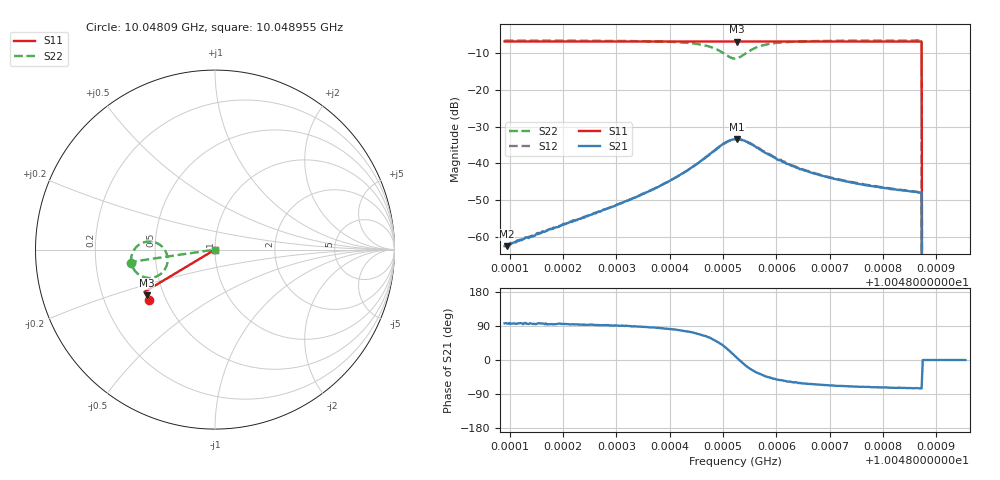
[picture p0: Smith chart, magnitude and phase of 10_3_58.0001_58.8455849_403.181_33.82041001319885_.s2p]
#  HZ  S  RI  R  50.00
! Rohde & Schwarz Vector Network Analyzer
! Rohde-Schwarz,ZNB20-2Port,1311601062101988,3.16
! Created: UTC 3/21/2024, 12:50:45 AM
! freq[Hz]  re:S11  im:S11  re:S21  im:S21  re:S12  im:S12  re:S22  im:S22
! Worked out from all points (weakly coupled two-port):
!   401 points, 10.04809 GHz to 10.048955 GHz, reference 50 ohm
!   highest |S21| = -33.36 dB at 10.048527 GHz (marker M1); lowest = -62.5 dB at 10.048094 GHz (marker M2)
!   lowest |S11| = -6.8 dB at 10.048527 GHz (marker M3), VSWR 2.68, Z = 20.1 - j12.9 ohm
!   |S11| at or under -10 dB: 10.048872 GHz to end of sweep
!   |S22| runs from - to -6.5 dB; largest |S21 - S12| = 0.002
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1.00480901e10  -0.3652 -0.2789  -8.85e-05 0.000742  -0.000119 0.000746  -0.4676 -0.0728
1.00480944e10  -0.3653 -0.2787  -8.49e-05 0.000742  -0.000133 0.000751  -0.4675 -0.0723
1.00482349e10  -0.3708 -0.2709  -0.00012 0.00179  -0.000204 0.00181  -0.4676 -0.0533
1.00483084e10  -0.3737 -0.2668  -1.66e-05 0.00287  -0.000208 0.00285  -0.4656 -0.0385
1.00483797e10  -0.3761 -0.2626  0.000453 0.00483  0.000177 0.00486  -0.4586 -0.0158
1.00484294e10  -0.3779 -0.2595  0.00186 0.00752  0.00139 0.00762  -0.4415 0.0109
1.0048464e10  -0.379 -0.2572  0.00502 0.0104  0.00433 0.0107  -0.4075 0.0361
1.00484813e10  -0.3792 -0.256  0.00855 0.0118  0.00767 0.0122  -0.3733 0.0449
1.00484964e10  -0.3793 -0.255  0.0132 0.0117  0.012 0.0125  -0.3297 0.0388
1.00485115e10  -0.3791 -0.2543  0.0187 0.00849  0.0177 0.0099  -0.2833 0.00352
1.00485223e10  -0.3791 -0.2542  0.0211 0.00389  0.0205 0.00572  -0.2648 -0.0419
1.00485267e10  -0.3792 -0.2539  0.0214 0.00164  0.021 0.00361  -0.2642 -0.062
1.00485375e10  -0.3796 -0.2542  0.0205 -0.00313  0.0208 -0.00148  -0.2783 -0.1083
1.00485504e10  -0.3803 -0.2539  0.0171 -0.00739  0.018 -0.00587  -0.3134 -0.1432
1.00485785e10  -0.3818 -0.2527  0.0103 -0.00946  0.0113 -0.00884  -0.3828 -0.1564
1.00486218e10  -0.3842 -0.2502  0.0054 -0.00825  0.00606 -0.008  -0.4313 -0.1336
1.00486671e10  -0.3856 -0.2475  0.00331 -0.00664  0.00377 -0.00656  -0.4502 -0.113
1.00487363e10  -0.3884 -0.2436  0.00196 -0.00523  0.00232 -0.00514  -0.4614 -0.0924
1.00488119e10  -0.391 -0.2392  0.0013 -0.00433  0.00159 -0.00431  -0.4665 -0.0776
1.00488681e10  -0.3929 -0.2359  0.00105 -0.00388  0.00128 -0.00387  -0.4687 -0.0692
1.00488789e10  0 0  0 0  0 0  0 0
1.00489546e10  0 0  0 0  0 0  0 0
